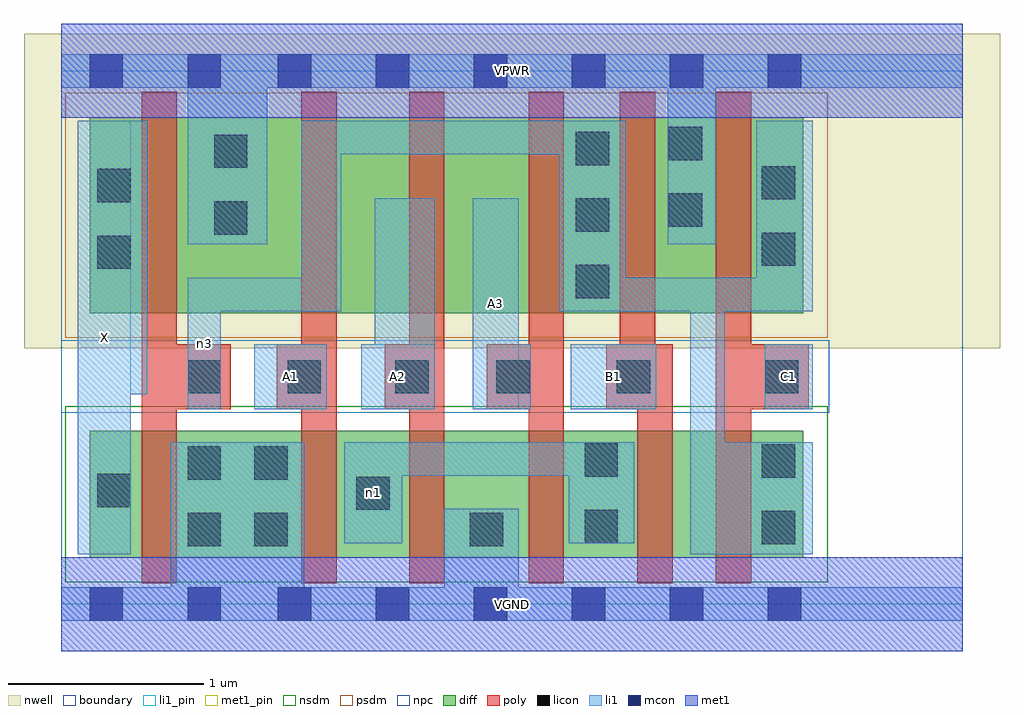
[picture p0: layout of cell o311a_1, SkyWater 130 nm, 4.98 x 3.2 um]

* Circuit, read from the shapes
.subckt o311a_1 A1 A2 A3 B1 C1 VGND VPWR X n1 n3
XM1 VGND n3 X VSUBS sky130_fd_pr__nfet_01v8 w=0.65 l=0.18
XM2 n1 A1 VGND VSUBS sky130_fd_pr__nfet_01v8 w=0.65 l=0.18
XM3 VGND A2 n1 VSUBS sky130_fd_pr__nfet_01v8 w=0.65 l=0.18
XM4 n1 A3 VGND VSUBS sky130_fd_pr__nfet_01v8 w=0.65 l=0.18
XM5 n2 B1 n1 VSUBS sky130_fd_pr__nfet_01v8 w=0.65 l=0.18
XM6 n3 C1 n2 VSUBS sky130_fd_pr__nfet_01v8 w=0.65 l=0.18
XM7 VPWR n3 X n4 sky130_fd_pr__pfet_01v8 w=1 l=0.18
XM8 n5 A1 VPWR n4 sky130_fd_pr__pfet_01v8 w=1 l=0.18
XM9 n6 A2 n5 n4 sky130_fd_pr__pfet_01v8 w=1 l=0.18
XM10 n3 A3 n6 n4 sky130_fd_pr__pfet_01v8 w=1 l=0.18
XM11 VPWR B1 n3 n4 sky130_fd_pr__pfet_01v8 w=1 l=0.18
XM12 n3 C1 VPWR n4 sky130_fd_pr__pfet_01v8 w=1 l=0.18
.ends

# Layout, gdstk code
import gdstk
lib = gdstk.Library(unit=1e-6, precision=1e-09)
def R(c, l, rs):  # rectangles x0, y0, x1, y1
    for r in rs: c.add(gdstk.rectangle(r[:2], r[2:], *l))
def A(c, l, x, y, w, h, nx, ny, dx, dy):  # array of equal rectangles
    R(c, l, [(x+i*dx, y+j*dy, x+i*dx+w, y+j*dy+h) for i in range(nx) for j in range(ny)])
nwell = (64, 20)
diff = (65, 20)
poly = (66, 20)
licon = (66, 44)
li1_pin = (67, 16)
li1 = (67, 20)
mcon = (67, 44)
met1_pin = (68, 16)
met1 = (68, 20)
nsdm = (93, 44)
psdm = (94, 20)
npc = (95, 20)
boundary = (235, 4)

o311a_1 = lib.new_cell('o311a_1')
R(o311a_1, nwell, [(-0.19,1.305,4.79,2.91), (0,1.305,4.6,2.91)])
R(o311a_1, diff, [(0.145,0.235,3.785,0.885), (0.145,1.485,3.785,2.485)])
R(o311a_1, poly, [(0.41,0.105,0.59,2.615), (1.225,0.105,1.405,2.615), (1.775,0.105,1.955,2.615), (2.385,0.105,2.565,2.615), (2.94,0.105,3.12,1.325), (3.34,0.105,3.52,2.615), (0.41,0.995,0.865,1.325), (1.1,0.995,1.405,1.325), (1.65,0.995,1.955,1.325), (2.17,0.995,2.565,1.325), (2.78,0.995,3.12,1.325), (2.85,0.995,3.03,2.615), (3.34,0.995,3.815,1.325)])
A(o311a_1, licon, 2.625, 1.56, 0.17, 0.17, 1, 3, 0, 0.34)
R(o311a_1, licon, [(0.645,0.295,0.815,0.465), (0.985,0.295,1.155,0.465), (2.085,0.295,2.255,0.465), (3.575,0.305,3.745,0.475), (2.67,0.31,2.84,0.48), (1.505,0.48,1.675,0.65), (0.185,0.495,0.355,0.665), (0.645,0.635,0.815,0.805), (0.985,0.635,1.155,0.805), (3.575,0.645,3.745,0.815), (2.67,0.65,2.84,0.82), (0.645,1.075,0.815,1.245), (1.155,1.075,1.325,1.245), (1.705,1.075,1.875,1.245), (2.22,1.075,2.39,1.245), (2.835,1.075,3.005,1.245), (3.59,1.075,3.76,1.245), (0.185,1.71,0.355,1.88), (3.575,1.725,3.745,1.895), (0.78,1.885,0.95,2.055), (3.1,1.925,3.27,2.095), (0.185,2.05,0.355,2.22), (3.575,2.065,3.745,2.235), (0.78,2.225,0.95,2.395), (3.1,2.265,3.27,2.435)])
R(o311a_1, li1_pin, [(0.085,0.255,0.355,2.465), (0.985,0.995,1.355,1.325), (1.53,0.995,1.905,1.325), (2.1,0.995,2.335,2.07), (2.6,0.995,3.035,1.325), (3.59,0.995,3.835,1.325)])
R(o311a_1, li1, [(0,-0.085,4.6,0.085), (0.56,-0.085,1.24,0.825), (1.955,-0.085,2.335,0.485), (0.085,0.255,0.355,2.465), (3.21,0.255,3.835,0.825), (3.21,0.255,3.385,1.665), (1.445,0.31,1.74,0.825), (2.59,0.31,2.925,0.825), (1.445,0.655,2.925,0.825), (0.645,0.995,0.815,1.665), (0.985,0.995,1.355,1.325), (1.53,0.995,1.905,1.325), (1.6,0.995,1.905,2.07), (2.1,0.995,2.335,2.07), (2.1,0.995,2.395,1.325), (2.6,0.995,3.035,1.325), (3.59,0.995,3.835,1.325), (0.085,1.07,0.44,2.465), (0.645,1.495,1.43,1.665), (1.225,1.495,1.43,2.465), (2.54,1.495,2.88,2.465), (2.54,1.495,3.835,1.665), (3.545,1.495,3.835,2.465), (0.645,1.835,1.05,2.805), (3.095,1.835,3.34,2.805), (1.225,2.295,2.88,2.465), (0,2.635,4.6,2.805)])
A(o311a_1, mcon, 1.105, -0.085, 0.17, 0.17, 6, 2, 0.5, 2.72)
R(o311a_1, mcon, [(0.145,-0.085,0.315,0.085), (0.645,-0.085,0.815,0.085), (0.145,2.635,0.315,2.805), (0.645,2.635,0.815,2.805)])
R(o311a_1, met1_pin, [(0,-0.24,4.6,0.24), (0,2.48,4.6,2.96)])
R(o311a_1, met1, [(0,-0.24,4.6,0.24), (0,2.48,4.6,2.96)])
R(o311a_1, nsdm, [(0.02,0.11,3.91,1.01)])
R(o311a_1, psdm, [(0.02,1.36,3.91,2.61)])
R(o311a_1, npc, [(0,0.975,3.92,1.345)])
R(o311a_1, boundary, [(0,0,4.6,2.72)])
o311a_1.add(gdstk.Label('A1', (1.17,1.16), layer=67, texttype=5))
o311a_1.add(gdstk.Label('A2', (1.717,1.16), layer=67, texttype=5))
o311a_1.add(gdstk.Label('A3', (2.217,1.532), layer=67, texttype=5))
o311a_1.add(gdstk.Label('B1', (2.817,1.16), layer=67, texttype=5))
o311a_1.add(gdstk.Label('C1', (3.712,1.16), layer=67, texttype=5))
o311a_1.add(gdstk.Label('X', (0.22,1.36), layer=67, texttype=5))
o311a_1.add(gdstk.Label('n1', (1.592,0.567), layer=67, texttype=5))
o311a_1.add(gdstk.Label('n3', (0.73,1.33), layer=67, texttype=5))
o311a_1.add(gdstk.Label('VPWR', (2.3,2.72), layer=68, texttype=5))
o311a_1.add(gdstk.Label('VGND', (2.3,0), layer=68, texttype=5))
o311a_1.add(gdstk.Label('A1', (1.17,1.16), layer=67, texttype=16))
o311a_1.add(gdstk.Label('A2', (1.717,1.16), layer=67, texttype=16))
o311a_1.add(gdstk.Label('A3', (2.217,1.532), layer=67, texttype=16))
o311a_1.add(gdstk.Label('B1', (2.817,1.16), layer=67, texttype=16))
o311a_1.add(gdstk.Label('C1', (3.712,1.16), layer=67, texttype=16))
o311a_1.add(gdstk.Label('X', (0.22,1.36), layer=67, texttype=16))
o311a_1.add(gdstk.Label('VPWR', (2.3,2.72), layer=68, texttype=16))
o311a_1.add(gdstk.Label('VGND', (2.3,0), layer=68, texttype=16))

lib.write_gds('o311a_1.gds')
